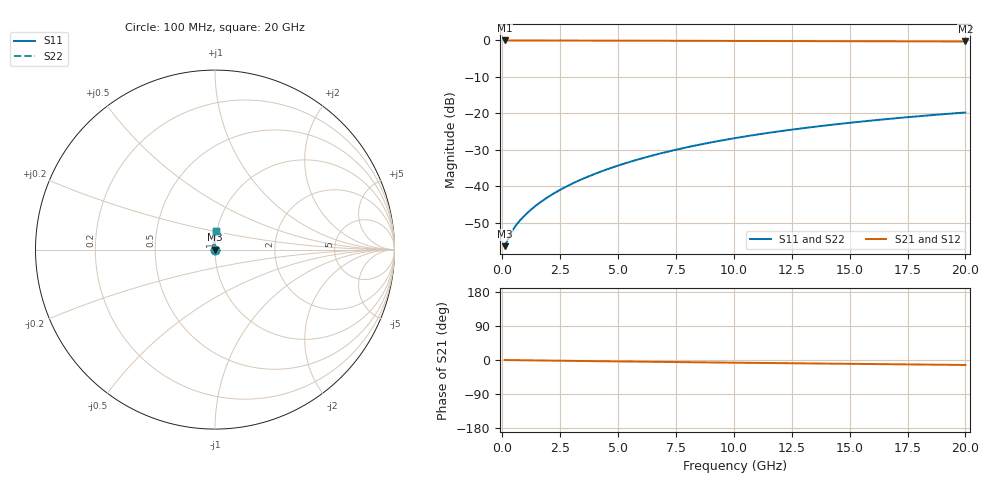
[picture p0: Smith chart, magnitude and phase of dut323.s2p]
! Touchstone file exported from HFSS 2024.1.0
!  File:  C:/UserFiles/LocalFiles/RDL_TSV_Batchsim/temp_RDL_top_323_1779607040.aedt
!  Generated:  03:19:38 PM May 24, 2026
!  Design:  RDL_top
!  Project:  temp_RDL_top_323_1779607040
!  Setup:  Setup1
!  Solution:  Sweep
! Variables:
!  dtsv = 10.80580581um
!  hbump = 3um
!  htsv = 77.82um
!  ldown = 100um
!  lrdl = 196.22um
!  p = 40
!  p1 = 40.04um
!  rhole = 1um
!  t = 450um
!  tdown = 3.915915916um
!  trdl = 2.38um
!  wdown = 15.38538539um
!  wrdl = 28.06um
# GHz S MA R 50.000000
! Terminal data exported
! Port[1] = Box2_T1
! Port[2] = Box2_T2
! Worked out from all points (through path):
!   200 points, 100 MHz to 20 GHz, reference 50 ohm
!   highest |S21| = -0.01 dB at 100 MHz (marker M1); lowest = -0.3 dB at 20 GHz (marker M2)
!   group delay of S21, straight-line fit = 1.79 ps
!   lowest |S11| = -56.4 dB at 100 MHz (marker M3), VSWR 1.00, Z = 50.1 + j0.0467 ohm
!   |S11| at or under -10 dB: start of sweep to end of sweep
!   |S22| runs from -56.4 to -19.8 dB; largest |S21 - S12| = 2.7e-15
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0.1  0.001513 17.9  0.9986 -0.1  0.9986 -0.1  0.001513 17.9
! Gamma 0 0 0 0
! Port Impedance 50 0 50 0
0.3  0.002049 39.8  0.9984 -0.3  0.9984 -0.3  0.002049 39.8
0.4  0.002354 45.6  0.9983 -0.3  0.9983 -0.3  0.002354 45.6
0.5  0.002653 50.0  0.9982 -0.4  0.9982 -0.4  0.002653 50.0
0.6  0.002943 53.6  0.9981 -0.5  0.9981 -0.5  0.002943 53.6
0.9  0.003797 61.9  0.9978 -0.7  0.9978 -0.7  0.003797 61.9
1.2  0.004674 68.1  0.9976 -0.9  0.9976 -0.9  0.004674 68.1
1.7  0.006231 75.6  0.9972 -1.3  0.9972 -1.3  0.006231 75.6
2.2  0.007906 80.9  0.9966 -1.7  0.9966 -1.7  0.007906 80.9
2.8  0.01006 85.4  0.9959 -2.2  0.9959 -2.2  0.01006 85.4
3.5  0.01277 89.1  0.9949 -2.7  0.9949 -2.7  0.01277 89.1
4.2  0.01569 91.7  0.9937 -3.2  0.9937 -3.2  0.01569 91.7
5  0.01926 93.7  0.9923 -3.8  0.9923 -3.8  0.01926 93.7
5.9  0.02354 95.1  0.9905 -4.4  0.9905 -4.4  0.02355 95.1
6.8  0.02808 95.8  0.9887 -5.0  0.9887 -5.0  0.02808 95.8
8.4  0.0366 96.0  0.9855 -6.1  0.9855 -6.1  0.03661 96.0
10.1  0.04609 95.3  0.9823 -7.1  0.9823 -7.1  0.0461 95.3
11.7  0.05524 94.1  0.9794 -8.1  0.9794 -8.1  0.05524 94.1
13.4  0.06505 92.7  0.9765 -9.2  0.9765 -9.2  0.06506 92.7
15  0.0743 91.2  0.974 -10.1  0.974 -10.1  0.07431 91.2
16.7  0.08409 89.6  0.9714 -11.1  0.9714 -11.1  0.0841 89.7
20  0.1029 86.6  0.9669 -13.1  0.9669 -13.1  0.1029 86.6
